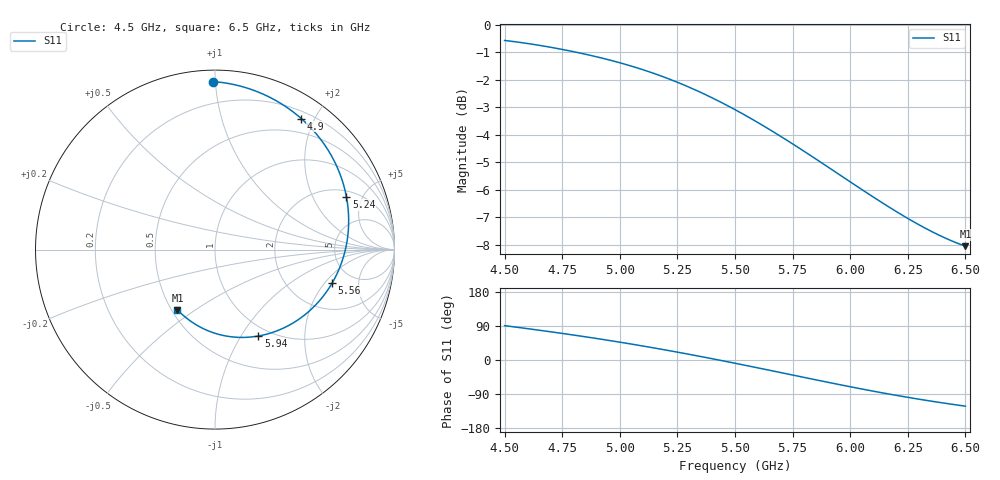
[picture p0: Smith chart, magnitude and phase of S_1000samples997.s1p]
! TOUCHSTONE file generated by CST MICROWAVE STUDIO
! Date and time: Sun Oct 30 01:08:39 2022
! Project name: L.cst
! Parameters = {Di=1.27; Epsilon_r=1.56; InnerDiameter=1.27; Length=2; Lf=10; Lg=60; OuterConductorThickness=0.2921; OuterDiameter=3.6; Wf=3; Wp=41.2; de=1.5; df=6.8; g=0.8; gx=2.6496; gy=3.83123; h=2.34; hf=1.524; px=12.0008; py=11.1779; w=9.7; wx=9.35123; wy=7.34669}
! Header version: 2018
! Port assignment regex: !\s*Touchstone port\s*([0-9]+)\s*=\s*(CST MWS port|CST DS port)\s*([0-9]+|Zmin|Zmax)\s*\(\"(.*)\"\)(\s*mode\s*([0-9]+))?.*
! Touchstone port assignment:
! Touchstone port 1 = CST MWS port 1 ("")
# GHz S DB R 50
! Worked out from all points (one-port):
!   101 points, 4.5 GHz to 6.5 GHz, reference 50 ohm
!   lowest |S11| = -8.0 dB at 6.5 GHz (marker M1), VSWR 2.31, Z = 26.8 - j21.4 ohm
!   |S11| at or under -10 dB: nowhere
!   S11 on the Smith chart (normalised r, x): 4.5 GHz: 0.07, +0.99; 4.9 GHz: 0.29, +1.82; 5.24 GHz: 2.39, +3.72; 5.56 GHz: 3.47, -2.40; 5.94 GHz: 0.88, -1.19; 6.5 GHz: 0.54, -0.43
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4.5  -0.57 90.6
4.58  -0.66 84.3
4.64  -0.74 79.4
4.7  -0.82 74.4
4.76  -0.92 69.3
4.84  -1.05 62.2
4.9  -1.17 56.7
5  -1.38 47.0
5.06  -1.53 41.0
5.12  -1.69 34.8
5.18  -1.87 28.4
5.24  -2.06 21.8
5.26  -2.13 19.6
5.32  -2.34 12.8
5.38  -2.57 5.8
5.44  -2.82 -1.3
5.5  -3.09 -8.6
5.56  -3.36 -15.9
5.66  -3.86 -28.4
5.76  -4.38 -40.9
5.84  -4.82 -50.9
5.94  -5.37 -63.3
6  -5.71 -70.6
6.12  -6.36 -84.5
6.2  -6.78 -93.3
6.26  -7.08 -99.6
6.38  -7.62 -111.2
6.5  -8.04 -121.9
